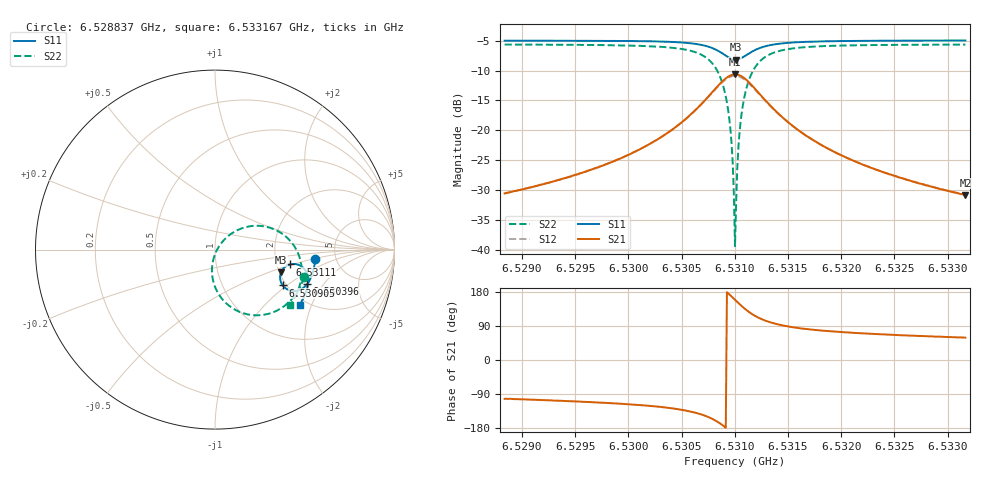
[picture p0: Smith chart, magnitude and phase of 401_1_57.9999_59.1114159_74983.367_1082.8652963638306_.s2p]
#  HZ  S  RI  R  50.00
! Rohde & Schwarz Vector Network Analyzer
! Rohde-Schwarz,ZNB20-2Port,1311601062101988,3.16
! Created: UTC 3/21/2024, 1:08:14 AM
! freq[Hz]  re:S11  im:S11  re:S21  im:S21  re:S12  im:S12  re:S22  im:S22
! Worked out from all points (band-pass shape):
!   401 points, 6.528837 GHz to 6.533167 GHz, reference 50 ohm
!   highest |S21| = -10.64 dB at 6.531002 GHz (marker M1); lowest = -30.8 dB at 6.533167 GHz (marker M2)
!   |S21| within 3 dB of the highest: 6.530787 GHz to 6.53122 GHz (432.9 kHz wide, 0.00663 % of centre)
!   lowest |S11| = -8.2 dB at 6.531013 GHz (marker M3), VSWR 2.28, Z = 102 - j30.4 ohm
!   |S11| at or under -10 dB: nowhere
!   |S22| runs from -39.3 to -5.7 dB; largest |S21 - S12| = 0.011
!   S11 on the Smith chart (normalised r, x): 6.528837 GHz: 3.48, -0.50; 6.530396 GHz: 2.55, -1.41; 6.530905 GHz: 1.91, -0.94; 6.53111 GHz: 2.37, -0.48; 6.533167 GHz: 1.82, -1.65
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6.5288373e9  0.559 -0.0496  -0.00645 -0.0291  -0.00681 -0.029  0.4978 -0.1525
6.5295626e9  0.5496 -0.1093  -0.0152 -0.0415  -0.0161 -0.0413  0.4685 -0.2189
6.5302878e9  0.5222 -0.1797  -0.0471 -0.0713  -0.0492 -0.0702  0.3909 -0.3113
6.5303961e9  0.5133 -0.1925  -0.0597 -0.0791  -0.0618 -0.0775  0.3647 -0.3292
6.5307424e9  0.4468 -0.2305  -0.1616 -0.0955  -0.1637 -0.0891  0.172 -0.3587
6.5308399e9  0.4063 -0.2233  -0.2245 -0.0672  -0.2234 -0.0582  0.0657 -0.3021
6.5309048e9  0.3776 -0.1999  -0.2665 -0.0173  -0.2616 -0.00801  0.00173 -0.2114
6.5309481e9  0.365 -0.1735  -0.2825 0.0332  -0.2746 0.0408  -0.0172 -0.1248
6.5309698e9  0.3627 -0.1579  -0.2834 0.0619  -0.2742 0.0681  -0.014 -0.0773
6.5309806e9  0.3628 -0.1499  -0.2817 0.0767  -0.2723 0.082  -0.00894 -0.0534
6.5309914e9  0.3637 -0.1418  -0.2786 0.0912  -0.2688 0.0956  -0.00147 -0.0297
6.5310022e9  0.3657 -0.134  -0.2741 0.1055  -0.2641 0.109  0.00829 -0.00694
6.5310131e9  0.3683 -0.1262  -0.268 0.1192  -0.2581 0.1218  0.0203 0.0148
6.5310239e9  0.3719 -0.1188  -0.2609 0.1323  -0.251 0.134  0.0343 0.035
6.5310347e9  0.3761 -0.112  -0.2522 0.1445  -0.2426 0.1454  0.05 0.0536
6.5310564e9  0.3863 -0.1  -0.2326 0.1655  -0.2235 0.165  0.086 0.0853
6.5311105e9  0.418 -0.0824  -0.1749 0.1972  -0.1686 0.1945  0.1861 0.1285
6.5311862e9  0.4591 -0.0828  -0.1026 0.2  -0.0993 0.1973  0.3084 0.121
6.5312945e9  0.4948 -0.1047  -0.0398 0.1707  -0.0384 0.1693  0.4109 0.0574
6.5317275e9  0.5192 -0.1834  0.0145 0.0828  0.0154 0.0824  0.483 -0.1285
6.5324527e9  0.4992 -0.2555  0.0169 0.0395  0.0176 0.0394  0.4556 -0.2446
6.5331671e9  0.4715 -0.3081  0.0148 0.0248  0.0154 0.0246  0.4204 -0.3065
